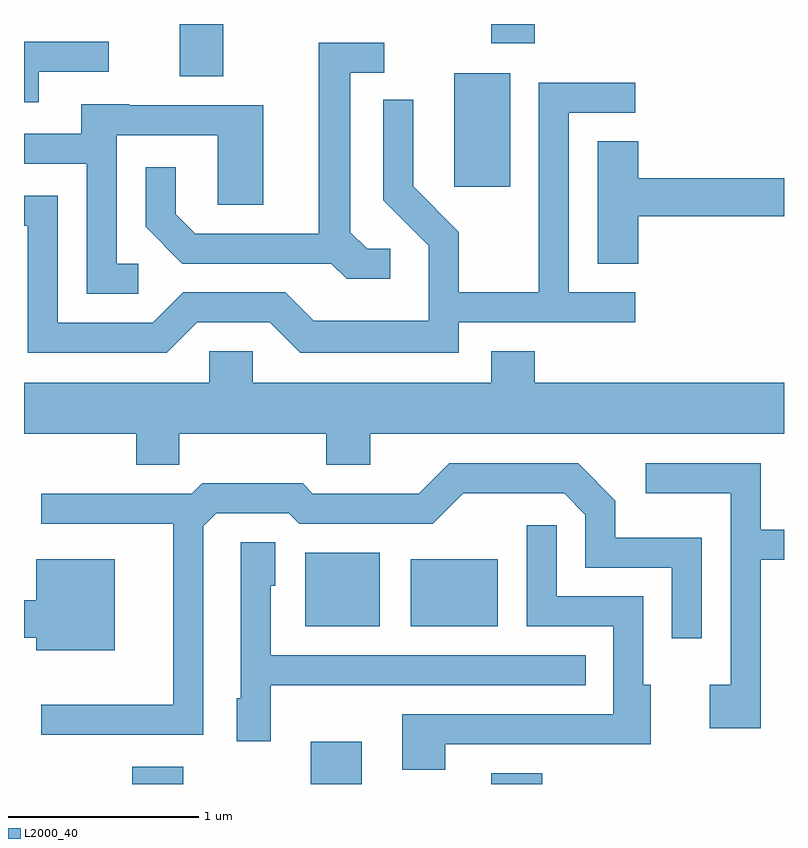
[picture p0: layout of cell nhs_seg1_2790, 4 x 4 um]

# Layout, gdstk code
import gdstk
lib = gdstk.Library(unit=1e-6, precision=1e-09)
def R(c, l, rs):  # rectangles x0, y0, x1, y1
    for r in rs: c.add(gdstk.rectangle(r[:2], r[2:], *l))
def P(c, l, *ps):  # polygons
    for p in ps: c.add(gdstk.Polygon(p, *l))
L2000_40 = (2000, 40)

nhs_seg1_2790 = lib.new_cell('nhs_seg1_2790')
R(nhs_seg1_2790, L2000_40, [(270.181,917.712,270.449,917.804), (271.121,917.712,271.389,917.934), (272.071,917.712,272.339,917.769), (271.091,918.541,271.484,918.929), (271.646,918.541,272.104,918.894), (271.876,920.856,272.169,921.454), (270.431,921.436,270.659,921.712), (272.071,921.611,272.299,921.712)])
P(nhs_seg1_2790, L2000_40, [(269.689,921.461),(270.058,921.461),(270.058,921.619),(269.611,921.619),(269.611,921.301),(269.689,921.301)],
  [(271.538,920.529),(271.417,920.529),(271.329,920.617),(271.329,921.456),(271.508,921.456),(271.508,921.614),(271.161,921.614),(271.161,920.609),(270.512,920.609),(270.409,920.712),(270.409,920.958),(270.251,920.958),(270.251,920.644),(270.444,920.451),(271.229,920.451),(271.309,920.371),(271.538,920.371)],
  [(270.522,920.141),(270.904,920.141),(271.064,919.981),(271.899,919.981),(271.899,920.141),(272.828,920.141),(272.828,920.299),(272.479,920.299),(272.479,921.246),(272.828,921.246),(272.828,921.404),(272.321,921.404),(272.321,920.299),(271.899,920.299),(271.899,920.617),(271.659,920.857),(271.659,921.313),(271.501,921.313),(271.501,920.784),(271.741,920.544),(271.741,920.149),(271.137,920.149),(270.987,920.299),(270.449,920.299),(270.289,920.139),(269.789,920.139),(269.789,920.809),(269.611,920.809),(269.611,920.651),(269.631,920.651),(269.631,919.981),(270.362,919.981)],
  [(270.213,920.449),(270.099,920.449),(270.099,921.126),(270.631,921.126),(270.631,920.761),(270.869,920.761),(270.869,921.284),(270.165,921.284),(270.165,921.289),(269.911,921.289),(269.911,921.134),(269.611,921.134),(269.611,920.976),(269.941,920.976),(269.941,920.291),(270.213,920.291)],
  [(272.844,920.701),(273.611,920.701),(273.611,920.899),(272.844,920.899),(272.844,921.094),(272.631,921.094),(272.631,920.451),(272.844,920.451)],
  [(271.201,919.391),(271.434,919.391),(271.434,919.556),(273.611,919.556),(273.611,919.824),(272.299,919.824),(272.299,919.989),(272.071,919.989),(272.071,919.824),(270.814,919.824),(270.814,919.989),(270.586,919.989),(270.586,919.824),(269.611,919.824),(269.611,919.556),(270.201,919.556),(270.201,919.391),(270.429,919.391),(270.429,919.556),(271.201,919.556)],
  [(273.489,918.891),(273.611,918.891),(273.611,919.049),(273.489,919.049),(273.489,919.399),(272.883,919.399),(272.883,919.241),(273.331,919.241),(273.331,918.234),(273.221,918.234),(273.221,918.006),(273.489,918.006)],
  [(270.554,919.069),(270.622,919.136),(271.004,919.136),(271.059,919.081),(271.762,919.081),(271.922,919.241),(272.454,919.241),(272.566,919.129),(272.566,918.851),(273.021,918.851),(273.021,918.478),(273.179,918.478),(273.179,919.009),(272.724,919.009),(272.724,919.202),(272.527,919.399),(271.849,919.399),(271.689,919.239),(271.132,919.239),(271.077,919.294),(270.549,919.294),(270.494,919.239),(269.703,919.239),(269.703,919.081),(270.396,919.081),(270.396,918.129),(269.703,918.129),(269.703,917.971),(270.554,917.971)],
  [(271.829,917.921),(272.909,917.921),(272.909,918.234),(272.869,918.234),(272.869,918.699),(272.414,918.699),(272.414,919.073),(272.256,919.073),(272.256,918.541),(272.711,918.541),(272.711,918.079),(271.601,918.079),(271.601,917.786),(271.829,917.786)],
  [(270.909,918.231),(272.568,918.231),(272.568,918.389),(270.909,918.389),(270.909,918.756),(270.934,918.756),(270.934,918.984),(270.751,918.984),(270.751,918.164),(270.731,918.164),(270.731,917.936),(270.909,917.936)],
  [(270.089,918.894),(269.676,918.894),(269.676,918.679),(269.611,918.679),(269.611,918.481),(269.676,918.481),(269.676,918.416),(270.089,918.416)])

lib.write_gds('nhs_seg1_2790.gds')
